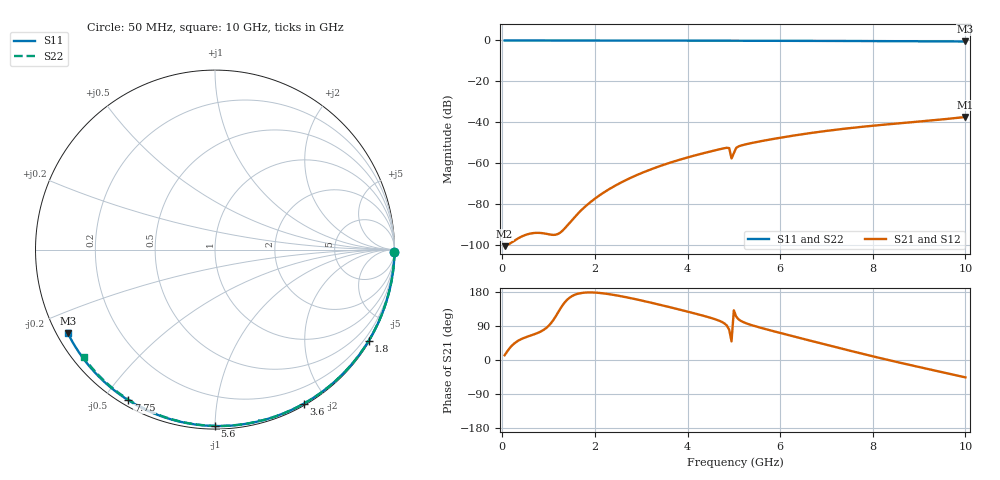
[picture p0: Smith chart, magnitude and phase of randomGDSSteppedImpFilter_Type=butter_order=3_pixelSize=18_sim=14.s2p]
! freq	dB(S11)	phase(S11)	dB(S12)	phase(S12)
!  dB(S21)	phase(S21)	dB(S22)	phase(S22)
!S-par simulation data
#  GHz  S  DB  R 50
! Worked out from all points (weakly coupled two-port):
!   200 points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, 50 MHz to 10 GHz, reference 50 ohm
!   highest |S21| = -37.44 dB at 10 GHz (marker M1); lowest = -100.6 dB at 50 MHz (marker M2)
!   lowest |S11| = -0.5 dB at 10 GHz (marker M3), VSWR 34.11, Z = 1.57 - j13.2 ohm
!   |S11| at or under -10 dB: nowhere
!   |S22| runs from -0.5 to 0.0 dB; largest |S21 - S12| = 0
!   S11 on the Smith chart (normalised r, x): 50 MHz: open; 1.8 GHz: 0.03, -3.64; 3.6 GHz: 0.02, -1.73; 5.6 GHz: 0.02, -1.00; 7.75 GHz: 0.02, -0.58; 10 GHz: 0.03, -0.26
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0.05  -0.00 -0.9  -100.61 12.5  -100.61 12.5  -0.00 -0.8
0.9  -0.02 -15.5  -94.36 80.1  -94.36 80.1  -0.02 -14.6
1.75  -0.04 -29.9  -82.08 177.5  -82.08 177.5  -0.04 -28.1
1.8  -0.04 -30.8  -81.05 178.0  -81.05 178.0  -0.04 -28.9
1.85  -0.04 -31.6  -80.07 178.3  -80.07 178.3  -0.04 -29.7
2.2  -0.05 -37.4  -74.24 175.6  -74.24 175.6  -0.04 -35.1
2.6  -0.06 -44.0  -69.07 167.5  -69.07 167.5  -0.05 -41.3
3  -0.07 -50.4  -64.92 157.2  -64.92 157.2  -0.06 -47.4
3.4  -0.08 -56.8  -61.47 145.8  -61.47 145.8  -0.07 -53.4
3.6  -0.08 -60.0  -59.95 139.9  -59.95 139.9  -0.08 -56.4
4.2  -0.10 -69.3  -55.99 121.4  -55.99 121.4  -0.09 -65.1
4.85  -0.12 -79.1  -52.49 90.8  -52.49 90.8  -0.11 -74.5
4.9  -0.12 -79.8  -52.65 79.7  -52.65 79.7  -0.12 -75.2
4.95  -0.13 -80.5  -57.73 49.1  -57.73 49.1  -0.16 -75.9
5.05  -0.13 -82.0  -52.55 114.7  -52.55 114.7  -0.13 -77.0
5.2  -0.13 -84.2  -51.11 100.2  -51.11 100.2  -0.12 -79.2
5.6  -0.15 -90.0  -49.20 84.3  -49.20 84.3  -0.14 -84.7
6.7  -0.21 -105.6  -45.15 49.5  -45.15 49.5  -0.19 -99.3
7.75  -0.28 -120.0  -42.28 17.2  -42.28 17.2  -0.26 -112.7
8.35  -0.33 -128.0  -40.97 -0.4  -40.97 -0.4  -0.31 -120.2
9.2  -0.42 -139.5  -39.25 -24.0  -39.25 -24.0  -0.39 -130.7
10  -0.51 -150.3  -37.44 -45.8  -37.44 -45.8  -0.48 -140.6
